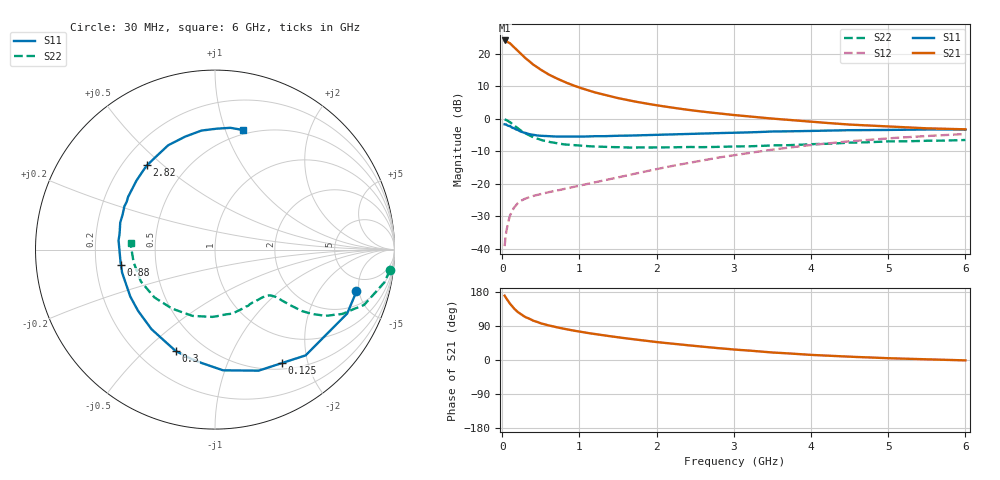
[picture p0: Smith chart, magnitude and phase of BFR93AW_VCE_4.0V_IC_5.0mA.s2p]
! (c) 2015  Infineon Technologies AG, Munich
! Infineon Technologies  Discrete & RF Semiconductors
! BFR93AW
! VCE =  4.0 V,  IC =  5.0 mA
! Common Emitter S-Parameters:  Nov 2015
# GHz  S  MA  R  50
!  f  S11  S21  S12  S22
! GHz  MAG  ANG  MAG  ANG  MAG  ANG  MAG  ANG
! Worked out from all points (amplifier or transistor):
!   206 points, 30 MHz to 6 GHz, reference 50 ohm
!   highest |S21| = 24.1 dB at 30 MHz (marker M1)
!   |S21| within 3 dB of that: start of sweep to 192.8 MHz
!   unconditionally stable (mu >= 1): 948.9 MHz to 2.273 GHz
!   at 200 MHz: K = 0.30, MSG = 23.4 dB, |S12| = -26.0 dB
!   at 1.56 GHz: K = 1.09, MAG = 10.0 dB, |S12| = -17.7 dB
!   at 6 GHz: K = 0.93, MSG = 0.7 dB, |S12| = -4.7 dB
!   S11 on the Smith chart (normalised r, x): 30 MHz: 3.26, -4.70; 125 MHz: 0.58, -1.60; 300 MHz: 0.35, -0.63; 880 MHz: 0.31, -0.07; 2.82 GHz: 0.30, +0.44; 6 GHz: 0.46, +1.15
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0.03  0.8219 -16.5  15.99 169.9  0.011 80.6  0.9817 -6.7
0.05  0.8181 -25.8  15.71 163.1  0.0178 76.7  0.961 -11.0
0.1  0.7761 -49.4  14.47 148.4  0.0326 66.1  0.8867 -20.3
0.125  0.7343 -59.4  13.5 142.7  0.0375 61.5  0.8394 -23.3
0.15  0.7169 -70.2  12.69 136.1  0.0427 57.9  0.7948 -26.8
0.2  0.674 -86.2  11.11 126.7  0.0503 52.5  0.7154 -31.1
0.26  0.6229 -102.2  9.457 118.0  0.0563 48.3  0.636 -33.9
0.3  0.606 -111.2  8.551 113.1  0.0593 47.2  0.5949 -35.2
0.4  0.5673 -128.6  6.818 103.8  0.0651 44.8  0.5197 -36.5
0.5  0.5477 -141.6  5.662 96.7  0.0696 45.1  0.4716 -37.2
0.6  0.5396 -151.0  4.805 91.2  0.0743 46.1  0.4425 -37.5
0.7  0.5321 -159.2  4.193 86.6  0.0782 48.1  0.4222 -38.2
0.88  0.5313 -170.6  3.397 79.3  0.0873 51.5  0.3972 -40.0
1.04  0.5317 -178.7  2.911 73.6  0.0961 54.3  0.3832 -42.5
1.2  0.5398 174.5  2.544 68.4  0.1053 57.0  0.3751 -45.3
1.5  0.549 164.0  2.077 59.9  0.1255 60.9  0.3665 -51.8
2.02  0.5666 148.3  1.597 46.9  0.17 64.4  0.363 -65.2
2.82  0.6034 128.8  1.205 30.9  0.2554 63.0  0.3703 -87.2
3.1  0.6132 122.5  1.113 26.3  0.2865 61.0  0.3756 -95.5
4.1  0.6532 103.1  0.881 12.6  0.4055 50.8  0.4089 -129.3
5.1  0.675 88.0  0.749 4.1  0.509 37.8  0.4491 -159.7
6  0.684 77.0  0.688 -1.0  0.5828 26.4  0.4718 175.8
